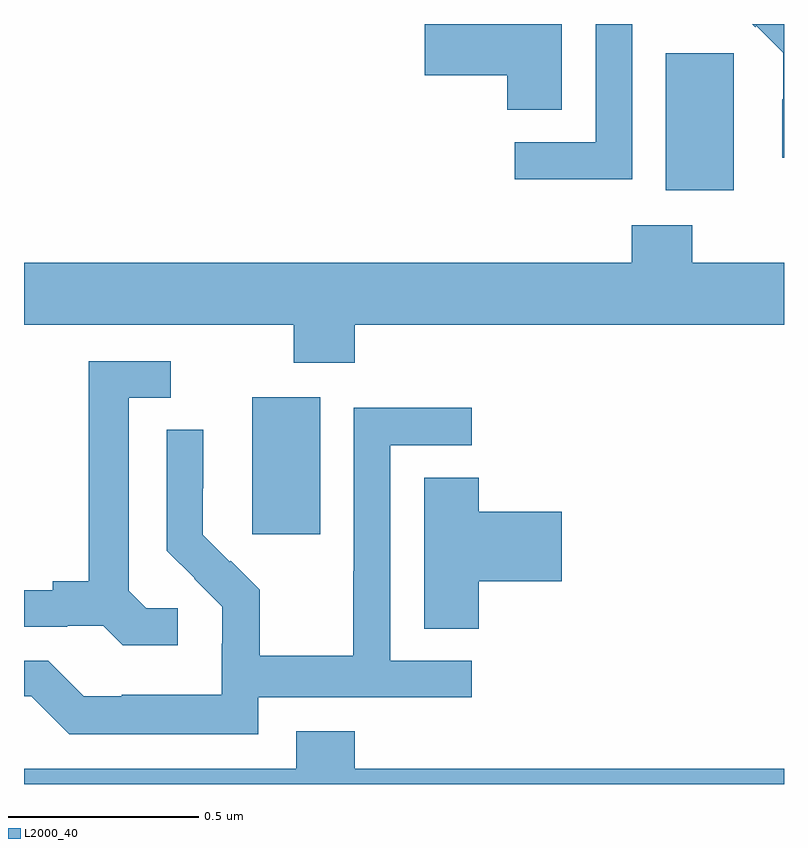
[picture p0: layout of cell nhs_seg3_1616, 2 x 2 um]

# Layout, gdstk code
import gdstk
lib = gdstk.Library(unit=1e-6, precision=1e-09)
def R(c, l, rs):  # rectangles x0, y0, x1, y1
    for r in rs: c.add(gdstk.rectangle(r[:2], r[2:], *l))
def P(c, l, *ps):  # polygons
    for p in ps: c.add(gdstk.Polygon(p, *l))
L2000_40 = (2000, 40)

nhs_seg3_1616 = lib.new_cell('nhs_seg3_1616')
R(nhs_seg3_1616, L2000_40, [(131.6,675.057,131.779,675.418), (132.689,675.962,132.868,676.323)])
P(nhs_seg3_1616, L2000_40, [(132.6,676.4),(132.504,676.4),(132.504,676.089),(132.291,676.089),(132.291,675.991),(132.6,675.991)],
  [(133,676.4),(132.916,676.4),(132.924,676.392),(132.927,676.395),(132.998,676.325),(132.998,676.202),(132.996,676.202),(132.996,676.048),(133,676.048)],
  [(132.415,676.4),(132.054,676.4),(132.054,676.265),(132.272,676.265),(132.272,676.174),(132.415,676.174)],
  [(131.87,675.608),(133,675.608),(133,675.772),(132.759,675.772),(132.759,675.871),(132.599,675.871),(132.599,675.772),(131,675.772),(131,675.608),(131.71,675.608),(131.71,675.509),(131.87,675.509)],
  [(131.404,674.862),(131.322,674.862),(131.275,674.909),(131.275,675.417),(131.386,675.417),(131.386,675.513),(131.171,675.513),(131.171,674.933),(131.075,674.933),(131.075,674.91),(131,674.91),(131,674.814),(131.114,674.814),(131.114,674.817),(131.208,674.817),(131.26,674.765),(131.404,674.765)],
  [(131.616,674.628),(132.178,674.628),(132.178,674.724),(131.964,674.724),(131.964,675.291),(132.178,675.291),(132.178,675.39),(131.868,675.39),(131.868,674.96),(131.866,674.96),(131.866,674.737),(131.621,674.737),(131.621,674.911),(131.544,674.988),(131.541,674.985),(131.471,675.056),(131.471,675.178),(131.472,675.178),(131.472,675.332),(131.376,675.332),(131.376,675.014),(131.449,674.941),(131.448,674.94),(131.522,674.866),(131.522,674.769),(131.52,674.769),(131.52,674.635),(131.257,674.635),(131.257,674.631),(131.157,674.631),(131.064,674.724),(131,674.724),(131,674.631),(131.019,674.631),(131.119,674.531),(131.616,674.531)],
  [(132.197,674.933),(132.415,674.933),(132.415,675.116),(132.197,675.116),(132.197,675.206),(132.053,675.206),(132.053,674.809),(132.197,674.809)],
  [(133,674.44),(131.87,674.44),(131.87,674.539),(131.717,674.539),(131.717,674.44),(131,674.44),(131,674.4),(133,674.4)])

lib.write_gds('nhs_seg3_1616.gds')
